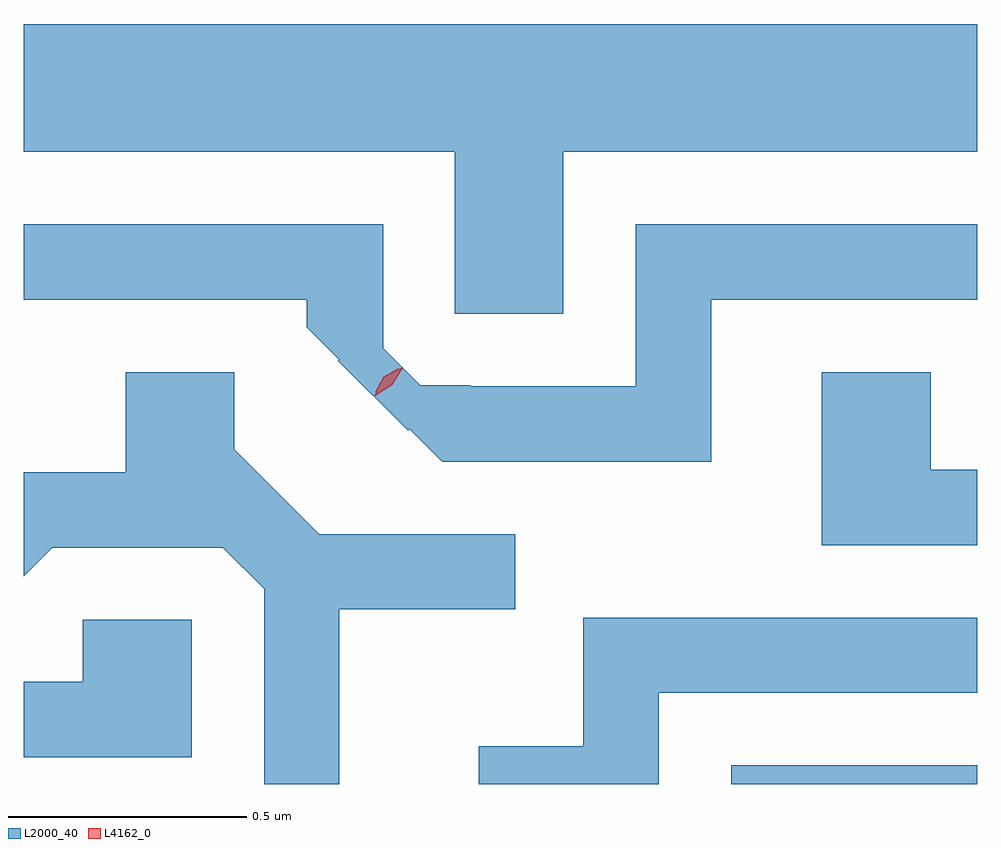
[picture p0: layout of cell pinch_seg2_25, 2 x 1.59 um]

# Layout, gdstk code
import gdstk
lib = gdstk.Library(unit=1e-6, precision=1e-09)
def R(c, l, rs):  # rectangles x0, y0, x1, y1
    for r in rs: c.add(gdstk.rectangle(r[:2], r[2:], *l))
def P(c, l, *ps):  # polygons
    for p in ps: c.add(gdstk.Polygon(p, *l))
L2000_40 = (2000, 40)
L4162_0 = (4162, 0)

pinch_seg2_25 = lib.new_cell('pinch_seg2_25')
R(pinch_seg2_25, L2000_40, [(1677.151,1055.87,1677.667,1055.909)])
P(pinch_seg2_25, L2000_40, [(1676.799,1057.196),(1677.667,1057.196),(1677.667,1057.464),(1675.667,1057.464),(1675.667,1057.196),(1676.571,1057.196),(1676.571,1056.856),(1676.799,1056.856)],
  [(1677.109,1056.886),(1677.667,1056.886),(1677.667,1057.044),(1676.951,1057.044),(1676.951,1056.704),(1676.605,1056.704),(1676.605,1056.706),(1676.499,1056.706),(1676.421,1056.784),(1676.421,1057.044),(1675.667,1057.044),(1675.667,1056.886),(1676.261,1056.886),(1676.261,1056.828),(1676.329,1056.76),(1676.326,1056.758),(1676.473,1056.611),(1676.476,1056.615),(1676.545,1056.546),(1677.109,1056.546)],
  [(1677.667,1056.529),(1677.569,1056.529),(1677.569,1056.734),(1677.341,1056.734),(1677.341,1056.371),(1677.667,1056.371)],
  [(1676.329,1056.236),(1676.698,1056.236),(1676.698,1056.394),(1676.287,1056.394),(1676.109,1056.572),(1676.109,1056.734),(1675.881,1056.734),(1675.881,1056.524),(1675.667,1056.524),(1675.667,1056.306),(1675.727,1056.366),(1676.084,1056.366),(1676.171,1056.279),(1676.171,1055.87),(1676.329,1055.87)],
  [(1676.999,1056.061),(1677.667,1056.061),(1677.667,1056.219),(1676.841,1056.219),(1676.841,1055.949),(1676.621,1055.949),(1676.621,1055.87),(1676.999,1055.87)],
  [(1676.019,1056.214),(1675.791,1056.214),(1675.791,1056.084),(1675.667,1056.084),(1675.667,1055.926),(1676.019,1055.926)])
P(pinch_seg2_25, L4162_0, [(1676.403,1056.684),(1676.403,1056.685),(1676.425,1056.721),(1676.462,1056.744),(1676.462,1056.744),(1676.462,1056.743),(1676.44,1056.707),(1676.404,1056.684)],
  [(1676.404,1056.692),(1676.404,1056.692),(1676.422,1056.724),(1676.454,1056.742),(1676.454,1056.742),(1676.454,1056.741),(1676.436,1056.71),(1676.405,1056.692)])

lib.write_gds('pinch_seg2_25.gds')
